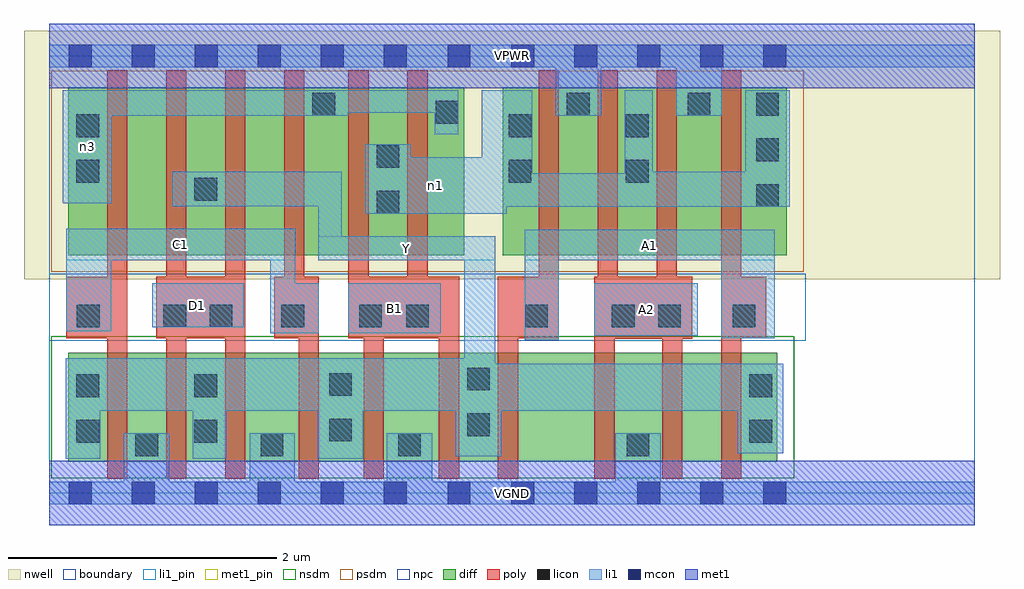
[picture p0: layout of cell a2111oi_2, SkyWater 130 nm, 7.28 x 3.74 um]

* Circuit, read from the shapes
.subckt a2111oi_2 A1 A2 B1 C1 D1 VGND VPWR Y n1 n3
XM1 VGND C1 Y VSUBS sky130_fd_pr__nfet_01v8 w=0.81 l=0.15 m=2
XM2 Y D1 VGND VSUBS sky130_fd_pr__nfet_01v8 w=0.81 l=0.15 m=2
XM3 VGND B1 Y VSUBS sky130_fd_pr__nfet_01v8 w=0.81 l=0.15 m=2
XM4 n2 A1 Y VSUBS sky130_fd_pr__nfet_01v8 w=0.81 l=0.15
XM5 VGND A2 n2 VSUBS sky130_fd_pr__nfet_01v8 w=0.81 l=0.15
XM6 n4 A2 VGND VSUBS sky130_fd_pr__nfet_01v8 w=0.81 l=0.15
XM7 Y A1 n4 VSUBS sky130_fd_pr__nfet_01v8 w=0.81 l=0.15
XM8 n5 C1 n3 n6 sky130_fd_pr__pfet_01v8 w=1.25 l=0.15
XM9 Y D1 n5 n6 sky130_fd_pr__pfet_01v8 w=1.25 l=0.15
XM10 n7 D1 Y n6 sky130_fd_pr__pfet_01v8 w=1.25 l=0.15
XM11 n3 C1 n7 n6 sky130_fd_pr__pfet_01v8 w=1.25 l=0.15
XM12 n1 B1 n3 n6 sky130_fd_pr__pfet_01v8 w=1.25 l=0.15 m=2
XM13 VPWR A1 n1 n6 sky130_fd_pr__pfet_01v8 w=1.25 l=0.15 m=2
XM14 n1 A2 VPWR n6 sky130_fd_pr__pfet_01v8 w=1.25 l=0.15 m=2
.ends

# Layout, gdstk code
import gdstk
lib = gdstk.Library(unit=1e-6, precision=1e-09)
def R(c, l, rs):  # rectangles x0, y0, x1, y1
    for r in rs: c.add(gdstk.rectangle(r[:2], r[2:], *l))
def A(c, l, x, y, w, h, nx, ny, dx, dy):  # array of equal rectangles
    R(c, l, [(x+i*dx, y+j*dy, x+i*dx+w, y+j*dy+h) for i in range(nx) for j in range(ny)])
nwell = (64, 20)
diff = (65, 20)
poly = (66, 20)
licon = (66, 44)
li1_pin = (67, 16)
li1 = (67, 20)
mcon = (67, 44)
met1_pin = (68, 16)
met1 = (68, 20)
nsdm = (93, 44)
psdm = (94, 20)
npc = (95, 20)
boundary = (235, 4)

a2111oi_2 = lib.new_cell('a2111oi_2')
R(a2111oi_2, nwell, [(-0.19,1.595,7.09,3.45), (0,1.595,6.9,3.45)])
R(a2111oi_2, diff, [(0.14,0.235,5.43,1.045), (0.14,1.775,3.095,3.025), (3.38,1.775,5.5,3.025)])
A(a2111oi_2, poly, 0.43, 0.105, 0.15, 3.05, 3, 1, 0.44, 0)
R(a2111oi_2, poly, [(1.86,0.105,2.01,1.615), (2.345,0.105,2.495,1.615), (2.905,0.105,3.055,1.615), (3.345,0.105,3.495,1.615), (4.065,0.105,4.215,1.615), (4.57,0.105,4.72,1.615), (5.01,0.105,5.16,3.155), (4.065,1.15,4.795,1.615), (4.09,1.15,4.24,3.155), (4.53,1.15,4.68,3.155), (0.125,1.155,0.58,1.615), (0.795,1.155,1.46,1.615), (1.675,1.155,2.01,1.615), (1.75,1.155,1.9,3.155), (2.23,1.155,2.38,3.155), (2.23,1.155,3.055,1.615), (2.67,1.155,2.82,3.155), (3.345,1.155,3.8,1.615), (3.65,1.155,3.8,3.155), (5.01,1.155,5.345,1.615)])
A(a2111oi_2, licon, 5.27, 2.135, 0.17, 0.17, 1, 3, 0, 0.34)
R(a2111oi_2, licon, [(0.64,0.275,0.81,0.445), (1.575,0.275,1.745,0.445), (2.6,0.275,2.77,0.445), (4.305,0.275,4.475,0.445), (0.2,0.375,0.37,0.545), (1.08,0.375,1.25,0.545), (5.22,0.375,5.39,0.545), (2.085,0.385,2.255,0.555), (3.115,0.425,3.285,0.595), (0.2,0.715,0.37,0.885), (1.08,0.715,1.25,0.885), (5.22,0.715,5.39,0.885), (2.085,0.725,2.255,0.895), (3.115,0.765,3.285,0.935), (0.205,1.235,0.375,1.405), (0.85,1.235,1.02,1.405), (1.195,1.235,1.365,1.405), (1.73,1.235,1.9,1.405), (2.31,1.235,2.48,1.405), (2.66,1.235,2.83,1.405), (3.545,1.235,3.715,1.405), (4.195,1.235,4.365,1.405), (4.54,1.235,4.71,1.405), (5.095,1.235,5.265,1.405), (2.44,2.085,2.61,2.255), (1.08,2.18,1.25,2.35), (0.2,2.315,0.37,2.485), (3.425,2.315,3.595,2.485), (4.3,2.315,4.47,2.485), (2.44,2.425,2.61,2.595), (0.2,2.655,0.37,2.825), (3.425,2.655,3.595,2.825), (4.3,2.655,4.47,2.825), (2.88,2.755,3.05,2.925), (1.96,2.815,2.13,2.985), (3.86,2.815,4.03,2.985), (4.76,2.815,4.93,2.985)])
R(a2111oi_2, li1_pin, [(4.065,1.175,4.835,1.565), (2.23,1.19,2.92,1.565), (0.765,1.235,1.45,1.565), (0.125,1.735,1.835,1.97), (2.005,1.735,3.325,1.915), (3.545,1.735,5.41,1.965)])
R(a2111oi_2, li1, [(0,-0.085,6.9,0.085), (0.555,-0.085,0.895,0.445), (1.495,-0.085,1.83,0.445), (2.515,-0.085,2.855,0.445), (4.22,-0.085,4.56,0.445), (0.12,0.255,0.38,1.005), (1.07,0.255,1.32,1.005), (2,0.255,2.34,1.005), (3.03,0.275,3.37,0.965), (3.095,0.275,3.325,1.915), (5.135,0.295,5.475,0.965), (0.12,0.615,5.475,0.965), (0.12,0.615,3.325,1.005), (3.545,1.145,3.8,1.965), (5.01,1.155,5.41,1.965), (4.065,1.175,4.835,1.565), (1.645,1.19,2.01,1.565), (1.645,1.19,1.835,1.97), (2.23,1.19,2.92,1.565), (0.125,1.205,0.46,1.97), (0.765,1.235,1.45,1.565), (0.125,1.735,1.835,1.97), (2.005,1.735,3.325,1.915), (2.005,1.735,2.18,2.395), (3.545,1.735,5.41,1.965), (2.355,2.085,3.41,2.505), (2.355,2.085,2.695,2.6), (3.225,2.135,5.52,2.385), (3.225,2.135,3.6,3.005), (4.29,2.135,4.5,3.005), (4.29,2.135,5.52,2.395), (5.19,2.135,5.52,3.005), (0.915,2.14,2.18,2.395), (0.1,2.16,0.465,3.005), (2.875,2.675,3.05,3.005), (0.1,2.815,2.23,3.005), (3.775,2.815,4.115,3.345), (4.675,2.815,5.015,3.345), (0.1,2.835,3.05,3.005), (0,3.175,6.9,3.345)])
A(a2111oi_2, mcon, 0.145, -0.085, 0.17, 0.17, 6, 2, 0.47, 3.26)
A(a2111oi_2, mcon, 3.445, -0.085, 0.17, 0.17, 5, 2, 0.47, 3.26)
R(a2111oi_2, mcon, [(2.97,-0.085,3.14,0.085), (2.97,3.175,3.14,3.345)])
R(a2111oi_2, met1_pin, [(0,-0.24,6.9,0.24), (0,3.02,6.9,3.5)])
R(a2111oi_2, met1, [(0,-0.24,6.9,0.24), (0,3.02,6.9,3.5)])
R(a2111oi_2, nsdm, [(0.015,0.11,5.555,1.17)])
R(a2111oi_2, psdm, [(0.015,1.65,5.625,3.15)])
R(a2111oi_2, npc, [(0,1.135,5.64,1.635)])
R(a2111oi_2, boundary, [(0,0,6.9,3.26)])
a2111oi_2.add(gdstk.Label('A1', (4.477,1.85), layer=67, texttype=5))
a2111oi_2.add(gdstk.Label('A2', (4.45,1.37), layer=67, texttype=5))
a2111oi_2.add(gdstk.Label('B1', (2.575,1.377), layer=67, texttype=5))
a2111oi_2.add(gdstk.Label('C1', (0.98,1.852), layer=67, texttype=5))
a2111oi_2.add(gdstk.Label('D1', (1.107,1.4), layer=67, texttype=5))
a2111oi_2.add(gdstk.Label('Y', (2.665,1.825), layer=67, texttype=5))
a2111oi_2.add(gdstk.Label('n3', (0.282,2.582), layer=67, texttype=5))
a2111oi_2.add(gdstk.Label('n1', (2.882,2.295), layer=67, texttype=5))
a2111oi_2.add(gdstk.Label('VPWR', (3.45,3.26), layer=68, texttype=5))
a2111oi_2.add(gdstk.Label('VGND', (3.45,0), layer=68, texttype=5))
a2111oi_2.add(gdstk.Label('A1', (4.477,1.85), layer=67, texttype=16))
a2111oi_2.add(gdstk.Label('A2', (4.45,1.37), layer=67, texttype=16))
a2111oi_2.add(gdstk.Label('B1', (2.575,1.377), layer=67, texttype=16))
a2111oi_2.add(gdstk.Label('C1', (0.98,1.852), layer=67, texttype=16))
a2111oi_2.add(gdstk.Label('D1', (1.107,1.4), layer=67, texttype=16))
a2111oi_2.add(gdstk.Label('Y', (2.665,1.825), layer=67, texttype=16))
a2111oi_2.add(gdstk.Label('VPWR', (3.45,3.26), layer=68, texttype=16))
a2111oi_2.add(gdstk.Label('VGND', (3.45,0), layer=68, texttype=16))

lib.write_gds('a2111oi_2.gds')
